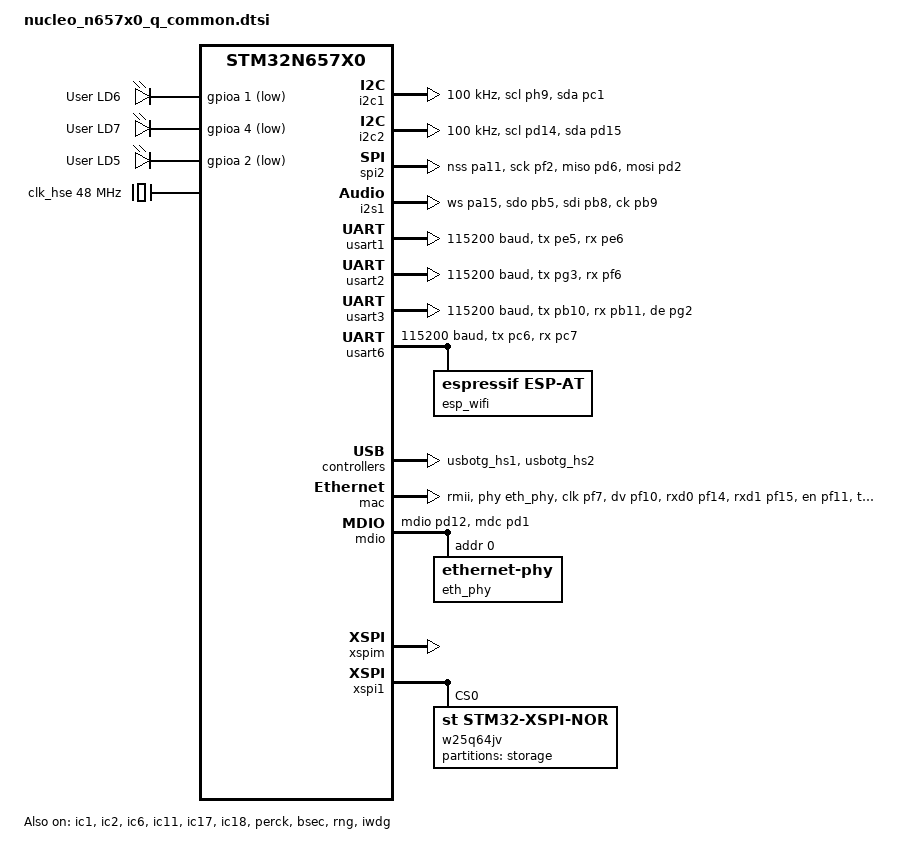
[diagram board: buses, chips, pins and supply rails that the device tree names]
/*
 * Copyright (c) 2025 STMicroelectronics
 *
 * SPDX-License-Identifier: Apache-2.0
 */

#include <st/n6/stm32n657X0.dtsi>
#include <st/n6/stm32n657x0hxq-pinctrl.dtsi>
#include <zephyr/dt-bindings/flash_controller/xspi.h>
#include <zephyr/dt-bindings/gpio/raspberrypi-csi-connector.h>
#include <zephyr/dt-bindings/input/input-event-codes.h>
#include "arduino_r3_connector.dtsi"

/ {
	chosen {
		zephyr,console = &usart1;
		zephyr,shell-uart = &usart1;
		zephyr,sram = &axisram2;
		zephyr,canbus = &fdcan1;
		spi-flash0 = &w25q64jv;
	};

	leds: leds {
		compatible = "gpio-leds";

		green_led: led_1 {
			gpios = <&gpioa 1 GPIO_ACTIVE_LOW>;
			label = "User LD6";
		};

		blue_led: led_2 {
			gpios = <&gpioa 4 GPIO_ACTIVE_LOW>;
			label = "User LD7";
		};

		red_led: led_3 {
			gpios = <&gpioa 2 GPIO_ACTIVE_LOW>;
			label = "User LD5";
		};
	};

	aliases {
		led0 = &green_led;
		led1 = &blue_led;
		led2 = &red_led;
		rtc = &rtc;
		watchdog0 = &iwdg;
	};
};

&clk_hse {
	hse-div2;
	clock-frequency = <DT_FREQ_M(48)>;
	status = "okay";
};

&clk_hsi {
	hsi-div = <1>;
	status = "okay";
};

&clk_lse {
	status = "disabled";
};

&pll1 {
	clocks = <&clk_hse>;
	div-m = <3>;
	mul-n = <150>;
	div-p1 = <1>;
	div-p2 = <1>;
	status = "okay";
};

&pll3 {
	clocks = <&clk_hse>;
	div-m = <3>;
	mul-n = <125>;
	div-p1 = <1>;
	div-p2 = <1>;
	status = "okay";
};

&ic1 {
	pll-src = <1>;
	ic-div = <3>;
	status = "okay";
};

&ic2 {
	pll-src = <1>;
	ic-div = <6>;
	status = "okay";
};

&ic6 {
	pll-src = <3>;
	ic-div = <2>;
	status = "okay";
};

&ic11 {
	pll-src = <1>;
	ic-div = <3>;
	status = "okay";
};

&ic17 {
	pll-src = <1>;
	ic-div = <4>;
	status = "okay";
};

/* IC18 must be enabled for the 27MHz CSIPHY */
&ic18 {
	pll-src = <1>;
	ic-div = <60>;
	status = "okay";
};

&perck {
	clocks = <&rcc STM32_SRC_HSI PER_SEL(0)>;
	status = "okay";
};

&cpusw {
	clocks = <&rcc STM32_SRC_IC1 CPU_SEL(3)>;
	clock-frequency = <DT_FREQ_M(800)>;
	status = "okay";
};

&rcc {
	/* ic2, ic6 & ic11 must all be enabled to set ic2 as SYSCLK */
	clocks = <&ic2>;
	clock-frequency = <DT_FREQ_M(400)>;
	ahb-prescaler = <2>;
	timg-prescaler = <2>;
};

io_cnf_i2c:&i2c1 {
	clocks = <&rcc STM32_CLOCK(APB1, 21)>,
		 <&rcc STM32_SRC_CKPER I2C1_SEL(1)>;
	pinctrl-0 = <&i2c1_scl_ph9 &i2c1_sda_pc1>;
	pinctrl-names = "default";
	scl-gpios = <&gpioh 9 GPIO_ACTIVE_HIGH>;
	sda-gpios = <&gpioc 1 GPIO_ACTIVE_HIGH>;
	clock-frequency = <I2C_BITRATE_STANDARD>;
	status = "okay";
};

io_i2c: &i2c2 {
	clocks = <&rcc STM32_CLOCK(APB1, 22)>,
		 <&rcc STM32_SRC_CKPER I2C2_SEL(1)>;
	pinctrl-0 = <&i2c2_scl_pd14 &i2c2_sda_pd15>;
	pinctrl-names = "default";
	scl-gpios = <&gpiod 10 GPIO_ACTIVE_HIGH>;
	sda-gpios = <&gpiod 11 GPIO_ACTIVE_HIGH>;
	clock-frequency = <I2C_BITRATE_STANDARD>;
	status = "okay";
};

io_spi:&spi2 {
	clocks = <&rcc STM32_CLOCK(APB1, 14)>,
		 <&rcc STM32_SRC_CKPER SPI2_SEL(1)>;
	pinctrl-0 = <&spi2_nss_pa11 &spi2_sck_pf2 &spi2_miso_pd6 &spi2_mosi_pd2>;
	pinctrl-names = "default";
	status = "okay";
};

io_i2s:&i2s1 {
        clocks = <&rcc STM32_CLOCK(APB2, 12)>,
                 <&rcc STM32_SRC_CKPER SPI1_SEL(1)>;
        pinctrl-0 = <&i2s1_ws_pa15 &i2s1_sdo_pb5 &i2s1_sdi_pb8 &i2s1_ck_pb9>;
        pinctrl-names = "default";
        status = "okay";
};

io_debug:&usart1 {
	clocks = <&rcc STM32_CLOCK(APB2, 4)>,
		 <&rcc STM32_SRC_CKPER USART1_SEL(1)>;
	pinctrl-0 = <&usart1_tx_pe5 &usart1_rx_pe6>;
	pinctrl-names = "default";
	current-speed = <115200>;
	status = "okay";
};

io_uart:&usart2 {
        clocks = <&rcc STM32_CLOCK(APB1, 17)>,
                 <&rcc STM32_SRC_CKPER USART2_SEL(1)>;
        pinctrl-0 = <&usart2_tx_pg3 &usart2_rx_pf6>;
        pinctrl-names = "default";
        current-speed = <115200>;
        status = "okay";
};

io_rs485_uart:&usart3 {
	clocks = <&rcc STM32_CLOCK(APB1, 18)>,
		 <&rcc STM32_SRC_CKPER USART3_SEL(1)>;
	pinctrl-0 = <&usart3_tx_pb10 &usart3_rx_pb11  &usart3_de_pg2>;
	pinctrl-names = "default";
	current-speed = <115200>;
	de-enable;
	status = "okay";
};

esp_wifi_uart:&usart6 {
        clocks = <&rcc STM32_CLOCK(APB2, 5)>,
                 <&rcc STM32_SRC_CKPER USART6_SEL(1)>;
        pinctrl-0 = <&usart6_tx_pc6 &usart6_rx_pc7>;
	        pinctrl-names = "default";
        current-speed = <115200>;
        status = "okay";

	esp_wifi: esp-wifi {
        	compatible = "espressif,esp-at";
        //power-gpios = <&gpio0 18 (GPIO_ACTIVE_HIGH | GPIO_OPEN_DRAIN)>;
        	status = "okay";
    	};

};

zephyr_udc0: &usbotg_hs1 {
	status = "okay";
};

zephyr_udc1: &usbotg_hs2 {
        status = "okay";
};

&mac {
	status = "okay";
	pinctrl-0 = <&eth1_rmii_ref_clk_pf7
		     &eth1_rmii_crs_dv_pf10
		     &eth1_rmii_rxd0_pf14
		     &eth1_rmii_rxd1_pf15
		     &eth1_rmii_tx_en_pf11
		     &eth1_rmii_txd0_pf12
		     &eth1_rmii_txd1_pf13>;
	pinctrl-names = "default";
	phy-connection-type = "rmii";
	phy-handle = <&eth_phy>;
	/*
	 * An area of OTP is dedicated to holding Ethernet MAC addresses;
	 * however, it is not programmed during manufacturing. Reading an
	 * unprogrammed OTP returns all zeroes, which breaks Ethernet if used
	 * as MAC address. To allow the use of Ethernet even on virgin boards,
	 * we do not define the nvmem-cell properties below (commented out)
	 * so that default MAC address source is not the OTP memory.
	 *
	 * Once a MAC address has been programmed in OTP, you can enable
	 * its use by uncommenting the following properties:
	 */
	/* nvmem-cells = <&mac_address0>; */
	/* nvmem-cell-names = "mac-address"; */
};

&mdio {
	status = "okay";
	pinctrl-0 = <&eth1_mdio_pd12 &eth1_mdc_pd1>;
	pinctrl-names = "default";

	eth_phy: ethernet-phy@0 {
		compatible = "ethernet-phy";
		reg = <0x0>;
	};
};

&xspim {
	/* To be moved to sb/fsbl target once sysbuild added to the board */
	status = "okay";
};

&xspi1 {
	pinctrl-0 = <&xspim_p2_ncs1_pn1 &xspim_p2_clk_pn6
		     &xspim_p2_io0_pn2 &xspim_p2_io1_pn3 &xspim_p2_io2_pn4
		     &xspim_p2_io3_pn5>;
	pinctrl-names = "default";
	status = "okay";

	w25q64jv: qspi-nor-flash@0 {
		compatible = "st,stm32-xspi-nor";
		reg = <0>;
		size = <DT_SIZE_M(64)>; /* 64  Mbits */
		ospi-max-frequency = <DT_FREQ_M(50)>;
		spi-bus-width = <XSPI_QUAD_MODE>;
		data-rate = <XSPI_STR_TRANSFER>;
//		four-byte-opcodes;
		status = "okay";

		partitions {
			compatible = "fixed-partitions";
			#address-cells = <1>;
			#size-cells = <1>;

			storage_partition: partition@3ff0000 {
				label = "storage";
				/*
				 * Prevent access to the last 32bytes of the memory-mapped device
				 * Issue described in the STM32N6xxxx errata sheet ES0620 Rev 1:
				 * 2.4.5 Deadlock or data corruption when DQS is enabled and the
				 * wrap request includes the last address of the memory
				 */
				reg = <0x3ff0000 (DT_SIZE_K(64) - 32)>;
			};
		};
	};
};

&bsec {
	/* Required by "iocell" and "ethernet" drivers */
	status = "okay";
};

&rng {
	status = "okay";
};

&iwdg {
	status = "okay";
};

&rtc {
	clocks = <&rcc STM32_CLOCK(APB4, 16)>,
		 <&rcc STM32_SRC_LSE RTC_SEL(1)>;
	status = "disabled";
};
